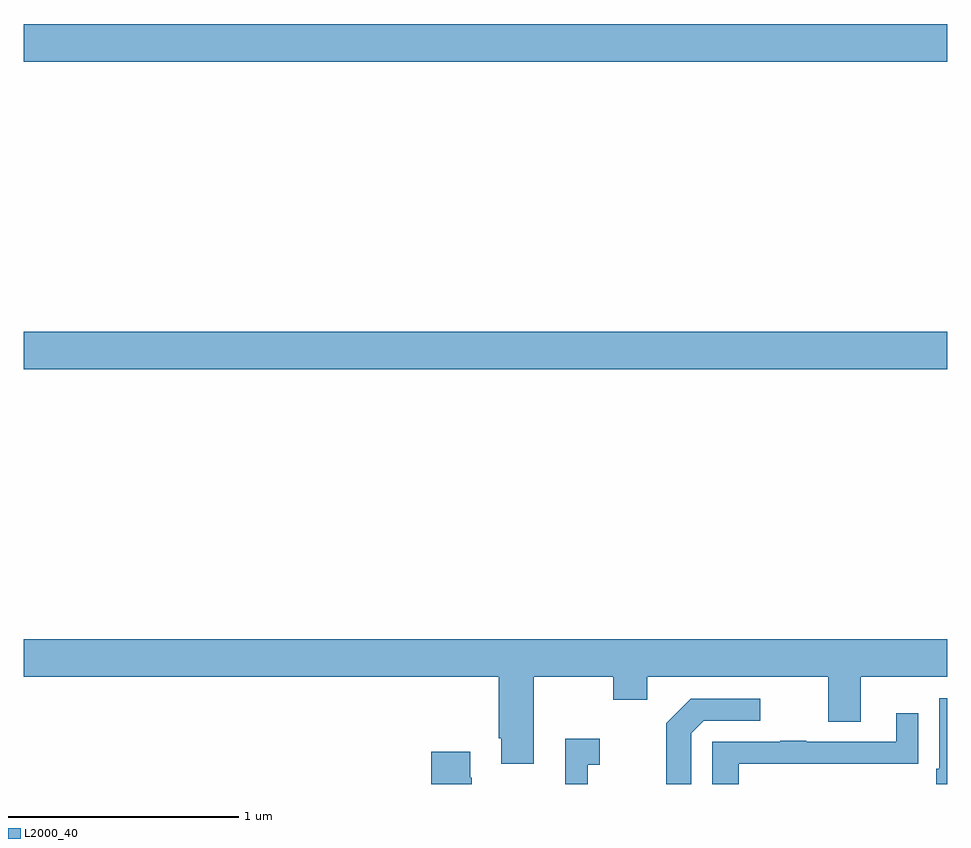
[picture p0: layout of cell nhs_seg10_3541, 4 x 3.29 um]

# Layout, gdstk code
import gdstk
lib = gdstk.Library(unit=1e-6, precision=1e-09)
def R(c, l, rs):  # rectangles x0, y0, x1, y1
    for r in rs: c.add(gdstk.rectangle(r[:2], r[2:], *l))
def P(c, l, *ps):  # polygons
    for p in ps: c.add(gdstk.Polygon(p, *l))
L2000_40 = (2000, 40)

nhs_seg10_3541 = lib.new_cell('nhs_seg10_3541')
R(nhs_seg10_3541, L2000_40, [(303,1320.296,307,1320.46), (303,1321.628,307,1321.792)])
P(nhs_seg10_3541, L2000_40, [(305.209,1318.964),(305.554,1318.964),(305.554,1318.865),(305.701,1318.865),(305.701,1318.964),(306.485,1318.964),(306.485,1318.77),(306.625,1318.77),(306.625,1318.964),(307,1318.964),(307,1319.128),(303,1319.128),(303,1318.964),(305.057,1318.964),(305.057,1318.699),(305.069,1318.699),(305.069,1318.587),(305.209,1318.587)],
  [(307,1318.872),(306.966,1318.872),(306.966,1318.567),(306.953,1318.567),(306.953,1318.5),(307,1318.5)],
  [(305.892,1318.719),(305.946,1318.773),(306.19,1318.773),(306.19,1318.869),(305.889,1318.869),(305.784,1318.763),(305.784,1318.5),(305.892,1318.5)],
  [(306.098,1318.587),(306.773,1318.587),(306.773,1318.588),(306.875,1318.588),(306.875,1318.807),(306.779,1318.807),(306.779,1318.683),(306.389,1318.683),(306.389,1318.688),(306.277,1318.688),(306.277,1318.683),(305.982,1318.683),(305.982,1318.5),(306.098,1318.5)],
  [(305.442,1318.583),(305.494,1318.583),(305.494,1318.696),(305.345,1318.696),(305.345,1318.5),(305.442,1318.5)],
  [(304.941,1318.526),(304.933,1318.526),(304.933,1318.639),(304.766,1318.639),(304.766,1318.5),(304.941,1318.5)])

lib.write_gds('nhs_seg10_3541.gds')
